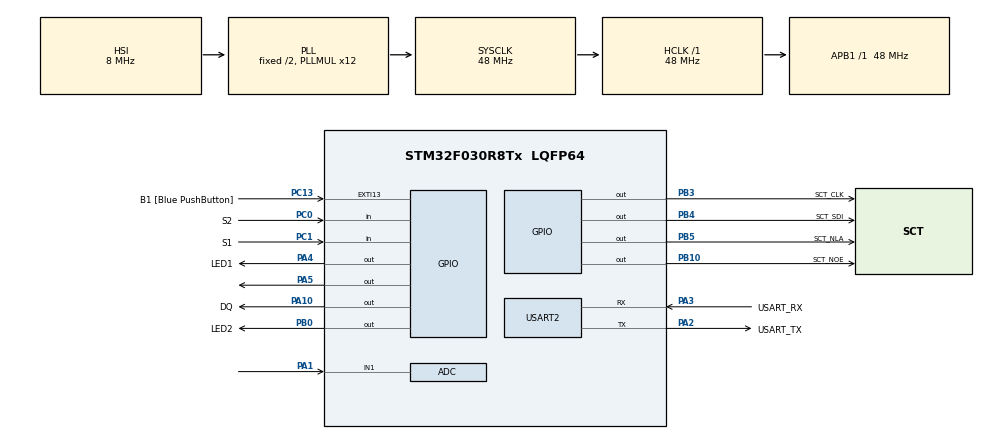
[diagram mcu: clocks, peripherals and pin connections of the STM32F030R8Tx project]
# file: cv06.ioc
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ADC.ContinuousConvMode=ENABLE
ADC.Overrun=ADC_OVR_DATA_OVERWRITTEN
ADC.Resolution=ADC_RESOLUTION_10B
Mcu.Family=STM32F0
Mcu.Name=STM32F030R8Tx
Mcu.Package=LQFP64
PA1.Mode=IN1
PA1.Signal=ADC_IN1
PA10.GPIO_Label=DQ
PA10.GPIO_ModeDefaultOutputPP=GPIO_MODE_OUTPUT_OD
PA10.GPIO_PuPd=GPIO_NOPULL
PA10.Signal=GPIO_Output
PA13.GPIO_Label=TMS
PA13.Mode=Serial_Wire
PA13.Signal=SYS_SWDIO
PA14.GPIO_Label=TCK
PA14.Mode=Serial_Wire
PA14.Signal=SYS_SWCLK
PA2.GPIO_Label=USART_TX
PA2.GPIO_Mode=GPIO_MODE_AF_PP
PA2.GPIO_PuPd=GPIO_NOPULL
PA2.GPIO_Speed=GPIO_SPEED_FREQ_LOW
PA2.Mode=Asynchronous
PA2.Signal=USART2_TX
PA3.GPIO_Label=USART_RX
PA3.GPIO_Mode=GPIO_MODE_AF_PP
PA3.GPIO_PuPd=GPIO_NOPULL
PA3.GPIO_Speed=GPIO_SPEED_FREQ_LOW
PA3.Mode=Asynchronous
PA3.Signal=USART2_RX
PA4.GPIO_Label=LED1
PA4.Signal=GPIO_Output
PA5.Signal=GPIO_Output
PB0.GPIO_Label=LED2
PB0.Signal=GPIO_Output
PB10.GPIO_Label=SCT_NOE
PB10.Signal=GPIO_Output
PB3.GPIO_Label=SCT_CLK
PB3.Signal=GPIO_Output
PB4.GPIO_Label=SCT_SDI
PB4.Signal=GPIO_Output
PB5.GPIO_Label=SCT_NLA
PB5.Signal=GPIO_Output
PC0.GPIO_Label=S2
PC0.GPIO_PuPd=GPIO_PULLUP
PC0.Signal=GPIO_Input
PC1.GPIO_Label=S1
PC1.GPIO_PuPd=GPIO_PULLUP
PC1.Signal=GPIO_Input
PC13.GPIO_Label=B1 [Blue PushButton]
PC13.GPIO_ModeDefaultEXTI=GPIO_MODE_IT_FALLING
PC13.Signal=GPXTI13
PC14-OSC32_IN.Mode=LSE-External-Oscillator
PC14-OSC32_IN.Signal=RCC_OSC32_IN
PC15-OSC32_OUT.Mode=LSE-External-Oscillator
PC15-OSC32_OUT.Signal=RCC_OSC32_OUT
PF0-OSC_IN.Mode=HSE-External-Clock-Source
PF0-OSC_IN.Signal=RCC_OSC_IN
PF1-OSC_OUT.Signal=RCC_OSC_OUT
ProjectManager.HeapSize=0x200
ProjectManager.StackSize=0x400
ProjectManager.TargetToolchain=STM32CubeIDE
RCC.AHBFreq_Value=48000000
RCC.APB1Freq_Value=48000000
RCC.APB1TimFreq_Value=48000000
RCC.HCLKFreq_Value=48000000
RCC.PLLMUL=RCC_PLL_MUL12
RCC.SYSCLKFreq_VALUE=48000000
RCC.SYSCLKSource=RCC_SYSCLKSOURCE_PLLCLK
USART2.VirtualMode-Asynchronous=VM_ASYNC
board=NUCLEO-F030R8

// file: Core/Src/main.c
/* USER CODE BEGIN Header */
/**
 ******************************************************************************
 * @file           : main.c
 * @brief          : Main program body
 ******************************************************************************
 * @attention
 *
 * Copyright (c) 2022 STMicroelectronics.
 * All rights reserved.
 *
 * This software is licensed under terms that can be found in the LICENSE file
 * in the root directory of this software component.
 * If no LICENSE file comes with this software, it is provided AS-IS.
 *
 ******************************************************************************
 */
/* USER CODE END Header */
#include "main.h"

/* USER CODE BEGIN Includes */

#include "1wire.h"	// including header file
#include "sct.h"	// including header file
#include "data.h"	// including data file

/* USER CODE END Includes */

/* USER CODE BEGIN PD */

#define CONVERT_T_DELAY 750		// carry time

/* USER CODE END PD */

ADC_HandleTypeDef hadc;

UART_HandleTypeDef huart2;

void SystemClock_Config(void);
static void MX_GPIO_Init(void);
static void MX_USART2_UART_Init(void);
static void MX_ADC_Init(void);

int main(void)
{

	/* MCU Configuration--------------------------------------------------------*/

	/* Reset of all peripherals, Initializes the Flash interface and the Systick. */
	HAL_Init();

	/* Configure the system clock */
	SystemClock_Config();

	/* Initialize all configured peripherals */
	MX_GPIO_Init();
	MX_USART2_UART_Init();
	MX_ADC_Init();
	/* USER CODE BEGIN 2 */

	sct_init();
	OWInit(); 					// communication Init

	OWConvertAll();
	HAL_ADCEx_Calibration_Start(&hadc);		// turning on calibration
	HAL_ADC_Start(&hadc);					// continuous transmission

	/* USER CODE END 2 */

	/* Infinite loop */
	/* USER CODE BEGIN WHILE */
	while (1)
	{
		static uint32_t lastMeasurmentsTicks = 0;
		static uint32_t lastDisplayTicks = 0;
		static enum { SHOW_MEASURMENT, SHOW_ADC} state = SHOW_ADC;

		if (HAL_GetTick() >= lastMeasurmentsTicks+750){
			lastMeasurmentsTicks = HAL_GetTick();

		}

		if (HAL_GetTick() >= lastDisplayTicks+100){
			lastDisplayTicks = HAL_GetTick();

			if (HAL_GPIO_ReadPin(S2_GPIO_Port, S2_Pin) == 0) {

				HAL_GPIO_WritePin(LED2_GPIO_Port, LED2_Pin, 0);		// turn LED2 on
				HAL_GPIO_WritePin(LED1_GPIO_Port, LED1_Pin, 1);		// turn LED1 off
				state = SHOW_ADC;

			}

			if (HAL_GPIO_ReadPin(S1_GPIO_Port, S1_Pin) == 0) {

				HAL_GPIO_WritePin(LED1_GPIO_Port, LED1_Pin, 0);			// turn LED1 on
				HAL_GPIO_WritePin(LED2_GPIO_Port, LED2_Pin, 1);			// turn LED2 off
				state = SHOW_MEASURMENT;
			}

			int16_t temp;
			int16_t tempNTC;

			switch(state) {

			case SHOW_MEASURMENT:

				OWConvertAll();
				int16_t temp_18b20;
				OWReadTemperature(&temp_18b20);

				sct_value(temp_18b20/10);							// display value on LCD

				break;

			case SHOW_ADC:

				temp = HAL_ADC_GetValue(&hadc);					// reading ADC values
				tempNTC = NTC_LOOKUP_TABLE[temp];				// Converting ADC values ADC to temparature
				sct_value(tempNTC);										// display value on LCD// display value on LCD

			}

			/* USER CODE END WHILE */

		}
	}
}

void SystemClock_Config(void)
{
	RCC_OscInitTypeDef RCC_OscInitStruct = {0};
	RCC_ClkInitTypeDef RCC_ClkInitStruct = {0};

	/** Initializes the RCC Oscillators according to the specified parameters
	 * in the RCC_OscInitTypeDef structure.
	 */
	RCC_OscInitStruct.OscillatorType = RCC_OSCILLATORTYPE_HSI|RCC_OSCILLATORTYPE_HSI14;
	RCC_OscInitStruct.HSIState = RCC_HSI_ON;
	RCC_OscInitStruct.HSI14State = RCC_HSI14_ON;
	RCC_OscInitStruct.HSICalibrationValue = RCC_HSICALIBRATION_DEFAULT;
	RCC_OscInitStruct.HSI14CalibrationValue = 16;
	RCC_OscInitStruct.PLL.PLLState = RCC_PLL_ON;
	RCC_OscInitStruct.PLL.PLLSource = RCC_PLLSOURCE_HSI;
	RCC_OscInitStruct.PLL.PLLMUL = RCC_PLL_MUL12;
	RCC_OscInitStruct.PLL.PREDIV = RCC_PREDIV_DIV1;
	if (HAL_RCC_OscConfig(&RCC_OscInitStruct) != HAL_OK)
	{
		Error_Handler();
	}

	/** Initializes the CPU, AHB and APB buses clocks
	 */
	RCC_ClkInitStruct.ClockType = RCC_CLOCKTYPE_HCLK|RCC_CLOCKTYPE_SYSCLK
			|RCC_CLOCKTYPE_PCLK1;
	RCC_ClkInitStruct.SYSCLKSource = RCC_SYSCLKSOURCE_PLLCLK;
	RCC_ClkInitStruct.AHBCLKDivider = RCC_SYSCLK_DIV1;
	RCC_ClkInitStruct.APB1CLKDivider = RCC_HCLK_DIV1;

	if (HAL_RCC_ClockConfig(&RCC_ClkInitStruct, FLASH_LATENCY_1) != HAL_OK)
	{
		Error_Handler();
	}
}

static void MX_ADC_Init(void)
{

	ADC_ChannelConfTypeDef sConfig = {0};

	/** Configure the global features of the ADC (Clock, Resolution, Data Alignment and number of conversion)
	 */
	hadc.Instance = ADC1;
	hadc.Init.ClockPrescaler = ADC_CLOCK_ASYNC_DIV1;
	hadc.Init.Resolution = ADC_RESOLUTION_10B;
	hadc.Init.DataAlign = ADC_DATAALIGN_RIGHT;
	hadc.Init.ScanConvMode = ADC_SCAN_DIRECTION_FORWARD;
	hadc.Init.EOCSelection = ADC_EOC_SINGLE_CONV;
	hadc.Init.LowPowerAutoWait = DISABLE;
	hadc.Init.LowPowerAutoPowerOff = DISABLE;
	hadc.Init.ContinuousConvMode = ENABLE;
	hadc.Init.DiscontinuousConvMode = DISABLE;
	hadc.Init.ExternalTrigConv = ADC_SOFTWARE_START;
	hadc.Init.ExternalTrigConvEdge = ADC_EXTERNALTRIGCONVEDGE_NONE;
	hadc.Init.DMAContinuousRequests = DISABLE;
	hadc.Init.Overrun = ADC_OVR_DATA_OVERWRITTEN;
	if (HAL_ADC_Init(&hadc) != HAL_OK)
	{
		Error_Handler();
	}

	/** Configure for the selected ADC regular channel to be converted.
	 */
	sConfig.Channel = ADC_CHANNEL_1;
	sConfig.Rank = ADC_RANK_CHANNEL_NUMBER;
	sConfig.SamplingTime = ADC_SAMPLETIME_1CYCLE_5;
	if (HAL_ADC_ConfigChannel(&hadc, &sConfig) != HAL_OK)
	{
		Error_Handler();
	}

}

static void MX_USART2_UART_Init(void)
{

	huart2.Instance = USART2;
	huart2.Init.BaudRate = 38400;
	huart2.Init.WordLength = UART_WORDLENGTH_8B;
	huart2.Init.StopBits = UART_STOPBITS_1;
	huart2.Init.Parity = UART_PARITY_NONE;
	huart2.Init.Mode = UART_MODE_TX_RX;
	huart2.Init.HwFlowCtl = UART_HWCONTROL_NONE;
	huart2.Init.OverSampling = UART_OVERSAMPLING_16;
	huart2.Init.OneBitSampling = UART_ONE_BIT_SAMPLE_DISABLE;
	huart2.AdvancedInit.AdvFeatureInit = UART_ADVFEATURE_NO_INIT;
	if (HAL_UART_Init(&huart2) != HAL_OK)
	{
		Error_Handler();
	}

}

static void MX_GPIO_Init(void)
{
	GPIO_InitTypeDef GPIO_InitStruct = {0};

	/* GPIO Ports Clock Enable */
	__HAL_RCC_GPIOC_CLK_ENABLE();
	__HAL_RCC_GPIOF_CLK_ENABLE();
	__HAL_RCC_GPIOA_CLK_ENABLE();
	__HAL_RCC_GPIOB_CLK_ENABLE();

	/*Configure GPIO pin Output Level */
	HAL_GPIO_WritePin(GPIOA, GPIO_PIN_4|GPIO_PIN_5|GPIO_PIN_10, GPIO_PIN_RESET);

	/*Configure GPIO pin Output Level */
	HAL_GPIO_WritePin(GPIOB, GPIO_PIN_0|GPIO_PIN_10|GPIO_PIN_3|GPIO_PIN_4
			|GPIO_PIN_5, GPIO_PIN_RESET);

	/*Configure GPIO pin : PC13 */
	GPIO_InitStruct.Pin = GPIO_PIN_13;
	GPIO_InitStruct.Mode = GPIO_MODE_IT_FALLING;
	GPIO_InitStruct.Pull = GPIO_NOPULL;
	HAL_GPIO_Init(GPIOC, &GPIO_InitStruct);

	/*Configure GPIO pins : PC0 PC1 */
	GPIO_InitStruct.Pin = GPIO_PIN_0|GPIO_PIN_1;
	GPIO_InitStruct.Mode = GPIO_MODE_INPUT;
	GPIO_InitStruct.Pull = GPIO_PULLUP;
	HAL_GPIO_Init(GPIOC, &GPIO_InitStruct);

	/*Configure GPIO pins : PA4 PA5 */
	GPIO_InitStruct.Pin = GPIO_PIN_4|GPIO_PIN_5;
	GPIO_InitStruct.Mode = GPIO_MODE_OUTPUT_PP;
	GPIO_InitStruct.Pull = GPIO_NOPULL;
	GPIO_InitStruct.Speed = GPIO_SPEED_FREQ_LOW;
	HAL_GPIO_Init(GPIOA, &GPIO_InitStruct);

	/*Configure GPIO pins : PB0 PB10 PB3 PB4
                           PB5 */
	GPIO_InitStruct.Pin = GPIO_PIN_0|GPIO_PIN_10|GPIO_PIN_3|GPIO_PIN_4
			|GPIO_PIN_5;
	GPIO_InitStruct.Mode = GPIO_MODE_OUTPUT_PP;
	GPIO_InitStruct.Pull = GPIO_NOPULL;
	GPIO_InitStruct.Speed = GPIO_SPEED_FREQ_LOW;
	HAL_GPIO_Init(GPIOB, &GPIO_InitStruct);

	/*Configure GPIO pin : PA10 */
	GPIO_InitStruct.Pin = GPIO_PIN_10;
	GPIO_InitStruct.Mode = GPIO_MODE_OUTPUT_OD;
	GPIO_InitStruct.Pull = GPIO_NOPULL;
	GPIO_InitStruct.Speed = GPIO_SPEED_FREQ_LOW;
	HAL_GPIO_Init(GPIOA, &GPIO_InitStruct);

}

void Error_Handler(void)
{
	__disable_irq();
	while (1)
	{
	}
}
